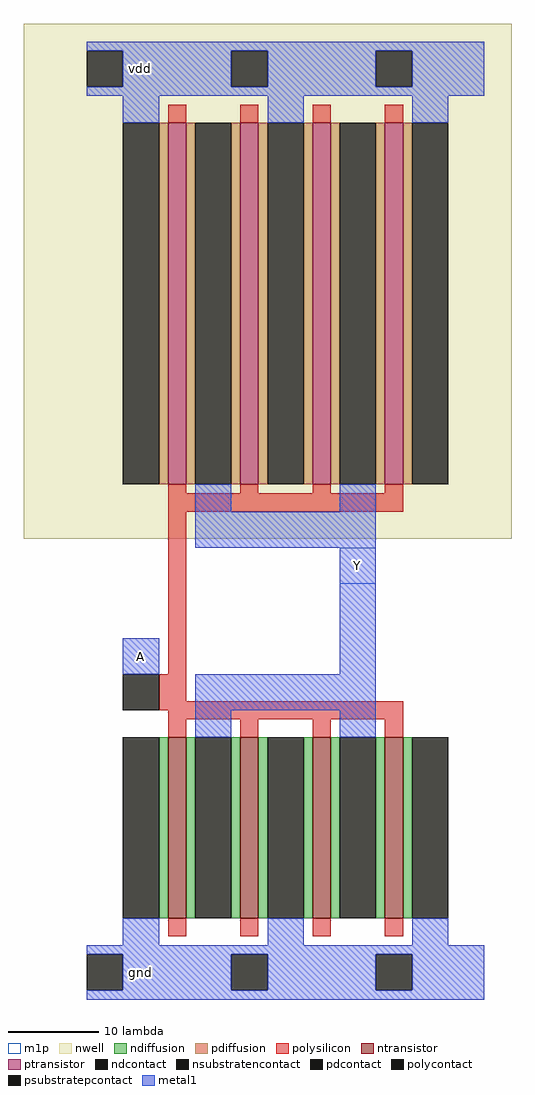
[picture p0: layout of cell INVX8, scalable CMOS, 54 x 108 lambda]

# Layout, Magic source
magic
tech scmos
<< nwell >>
rect -9 48 45 105
<< ntransistor >>
rect 7 6 9 26
rect 15 6 17 26
rect 23 6 25 26
rect 31 6 33 26
<< ptransistor >>
rect 7 54 9 94
rect 15 54 17 94
rect 23 54 25 94
rect 31 54 33 94
<< ndiffusion >>
rect 6 6 7 26
rect 9 6 10 26
rect 14 6 15 26
rect 17 6 18 26
rect 22 6 23 26
rect 25 6 26 26
rect 30 6 31 26
rect 33 6 34 26
<< pdiffusion >>
rect 6 54 7 94
rect 9 54 10 94
rect 14 54 15 94
rect 17 54 18 94
rect 22 54 23 94
rect 25 54 26 94
rect 30 54 31 94
rect 33 54 34 94
<< ndcontact >>
rect 2 6 6 26
rect 10 6 14 26
rect 18 6 22 26
rect 26 6 30 26
rect 34 6 38 26
<< pdcontact >>
rect 2 54 6 94
rect 10 54 14 94
rect 18 54 22 94
rect 26 54 30 94
rect 34 54 38 94
<< psubstratepcontact >>
rect -2 -2 2 2
rect 14 -2 18 2
rect 30 -2 34 2
<< nsubstratencontact >>
rect -2 98 2 102
rect 14 98 18 102
rect 30 98 34 102
<< polysilicon >>
rect 7 94 9 96
rect 15 94 17 96
rect 23 94 25 96
rect 31 94 33 96
rect 7 53 9 54
rect 15 53 17 54
rect 23 53 25 54
rect 31 53 33 54
rect 7 51 33 53
rect 7 33 9 51
rect 6 30 9 33
rect 6 29 33 30
rect 7 28 33 29
rect 7 26 9 28
rect 15 26 17 28
rect 23 26 25 28
rect 31 26 33 28
rect 7 4 9 6
rect 15 4 17 6
rect 23 4 25 6
rect 31 4 33 6
<< polycontact >>
rect 2 29 6 33
<< metal1 >>
rect -2 102 42 103
rect 2 98 14 102
rect 18 98 30 102
rect 34 98 42 102
rect -2 97 42 98
rect 2 94 6 97
rect 18 94 22 97
rect 34 94 38 97
rect 10 51 14 54
rect 26 51 30 54
rect 10 47 30 51
rect 2 33 6 37
rect 26 33 30 47
rect 10 29 30 33
rect 10 26 14 29
rect 26 26 30 29
rect 2 3 6 6
rect 18 3 22 6
rect 34 3 38 6
rect -2 2 42 3
rect 2 -2 14 2
rect 18 -2 30 2
rect 34 -2 42 2
rect -2 -3 42 -2
<< m1p >>
rect 26 43 30 47
rect 2 33 6 37
<< labels >>
rlabel metal1 4 100 4 100 6 vdd
rlabel metal1 4 0 4 0 8 gnd
rlabel m1p 4 35 4 35 6 A
rlabel m1p 28 45 28 45 1 Y
<< end >>
